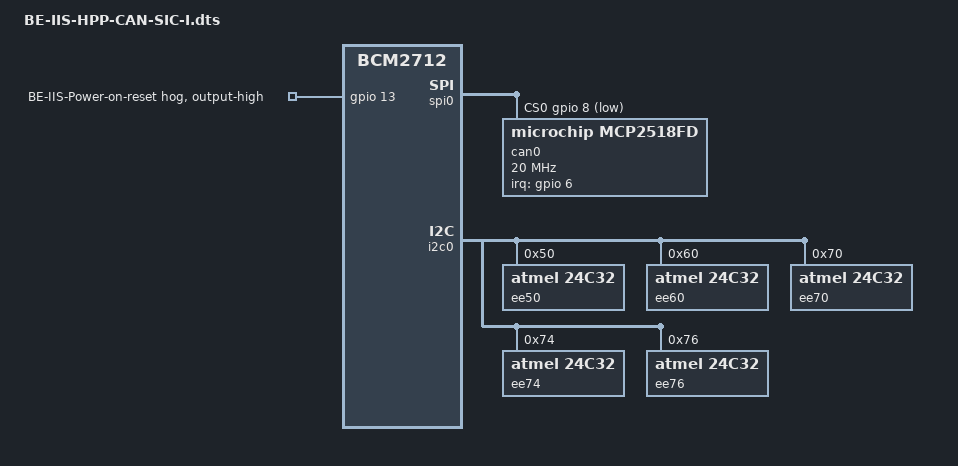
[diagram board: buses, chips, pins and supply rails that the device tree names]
// Raspberry Pi DT overlay: Microchip LAN8651/LAN8650 on SPI0 (CE0)
// IRQ: BCM GPIO6 (falling edge)
// SPI must be enabled in config.txt:
//     dtparam=spi=on
//
// Supported Raspberry Pi models (SPI0-based):
//   - Raspberry Pi Zero / Zero W / Zero 2 W
//   - Raspberry Pi 1 (A/B/B+)
//   - Raspberry Pi 2 (v1.1 / v1.2)
//   - Raspberry Pi 3 (3A+, 3B, 3B+)
//   - Raspberry Pi 4 (4B, 400, CM4)
//   - Raspberry Pi 5
//
// Notes:
//   - Uses SPI0 + CE0
//   - Uses BCM GPIO numbering
//   - Works across bcm2835 / bcm2711 / bcm2712


/dts-v1/;
/plugin/;

#include <dt-bindings/interrupt-controller/irq.h>
#include <dt-bindings/gpio/gpio.h>

/ {
	compatible = "brcm,bcm2835", "brcm,bcm2711", "brcm,bcm2712";

	fragment@0 {
		target = <&spi0>;
		__overlay__ {
			#address-cells = <1>;
			#size-cells = <0>;
			status = "okay";

			/* Reserve all three chip-selects already in the boot overlay */
			num-cs = <3>;
			cs-gpios =
				<&gpio 8  GPIO_ACTIVE_LOW>,   /* I   -> CE0 */
				<&gpio 7  GPIO_ACTIVE_LOW>,   /* II  -> CE1 */
				<&gpio 16 GPIO_ACTIVE_LOW>;   /* III -> CS2 */

			can0: can@0 {
				compatible = "microchip,mcp2518fd";
				reg = <0>;

				interrupt-parent = <&gpio>;
				interrupts = <6 IRQ_TYPE_LEVEL_LOW>;

				spi-max-frequency = <20000000>;

				clocks = <&mcp2518fd_CLK_CAN_I>;
				status = "okay";
			};
		};
	};

	/* disable spidev on CE0 because CE0 is used by this BE-IIS HAT++ device */
	fragment@1 {
		target = <&spidev0>;
		__overlay__ {
			status = "disabled";
		};
	};
	/* GPIO5,GPIO6,GPIO12,GPIO17,GPIO27 as input, no pull (IRQ pin) */
	fragment@2 {
	    target = <&gpio>;
	    __overlay__ {
		be_iis_shared_irq_pins: be-iis-shared-irq-pins {
			brcm,pins = <5 6 12 17 27>;
			brcm,function = <0 0 0 0 0>;
			brcm,pull = <2 2 2 2 2>;
		};
	    };
	};
	
	/* disable spidev on CE1 to keep the second chip-select free for BE-IIS HAT++ use */
	fragment@3 {
		target = <&spidev1>;
		__overlay__ {
		status = "disabled";
		};
	};

	fragment@9 {
	target = <&i2c0>;
	__overlay__ {
		#address-cells = <1>;
		#size-cells = <0>;

		ee50: eeprom@50 {
			compatible = "atmel,24c32";
			reg = <0x50>;
			status = "okay";
		};
		
		ee60: eeprom@60 {
			compatible = "atmel,24c32";
			reg = <0x60>;
			status = "okay";
		};

		ee70: eeprom@70 {
			compatible = "atmel,24c32";
			reg = <0x70>;
			status = "okay";
		};
		
		ee74: eeprom@74 {
			compatible = "atmel,24c32";
			reg = <0x74>;
			status = "okay";
		};
		
		ee76: eeprom@76 {
			compatible = "atmel,24c32";
			reg = <0x76>;
			status = "okay";
		};
	};
};

fragment@10 {
	target = <&gpio>;
	__overlay__ {
		be_iis_porst: be-iis-porst {
			gpio-hog;
			gpios = <13 GPIO_ACTIVE_HIGH>;
			output-high;
			line-name = "BE-IIS-Power-on-reset";
		};
	};
};

fragment@22 {
	target-path = "/clocks";
	__overlay__ {
		mcp2518fd_CLK_CAN_I: mcp2518fd_CLK_CAN_I {
			compatible = "fixed-clock";
			#clock-cells = <0>;
			clock-frequency = <40000000>;
		};
	};
};

__overrides__ {
		int_pin = <&can0>, "interrupts:0";
		speed   = <&can0>, "spi-max-frequency:0";
		cs      = <&can0>, "reg:0";
		osc     = <&mcp2518fd_CLK_CAN_I>, "clock-frequency:0";
	};
};

